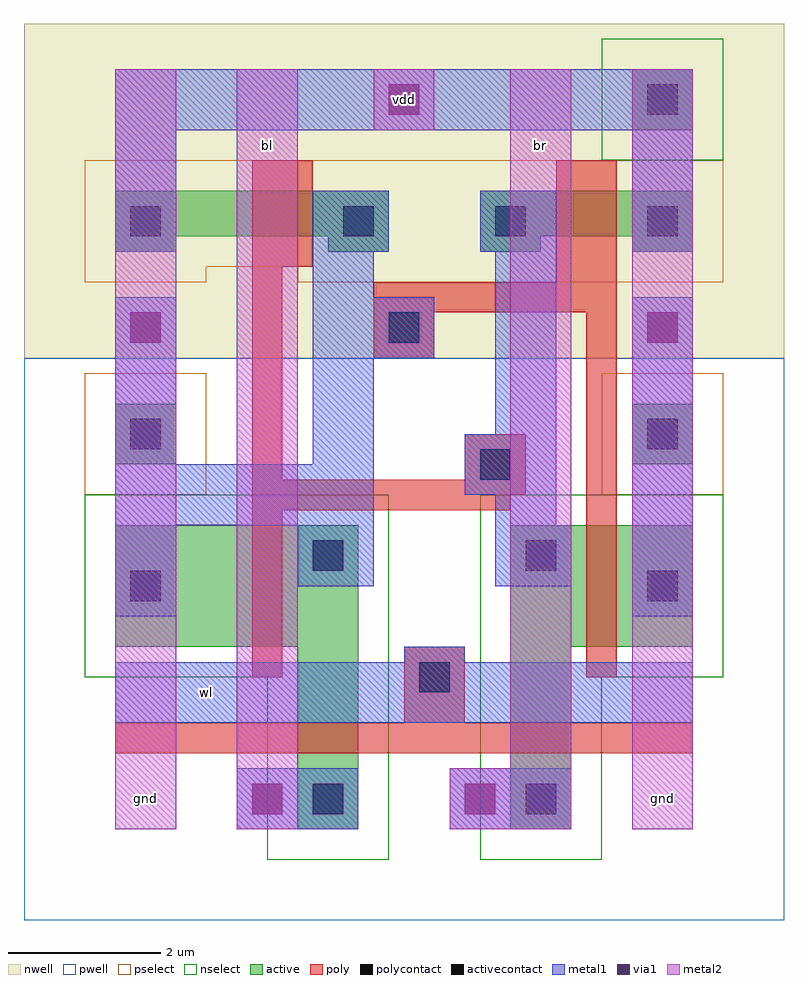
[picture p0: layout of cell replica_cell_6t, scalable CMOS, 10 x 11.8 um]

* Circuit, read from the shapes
.subckt replica_cell_6t bl br gnd vdd wl
M1 gnd n1 gnd gnd nfet w=1.6u l=0.4u
M2 gnd wl bl gnd nfet w=0.8u l=0.4u
M3 n1 wl br gnd nfet w=0.8u l=0.4u
M4 gnd gnd n1 gnd nfet w=1.6u l=0.4u
M5 gnd n1 vdd vdd pfet w=0.6u l=0.8u
M6 vdd gnd n1 vdd pfet w=0.6u l=0.8u
.ends

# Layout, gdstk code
import gdstk
lib = gdstk.Library(unit=1e-6, precision=1e-09)
def R(c, l, rs):  # rectangles x0, y0, x1, y1
    for r in rs: c.add(gdstk.rectangle(r[:2], r[2:], *l))
def A(c, l, x, y, w, h, nx, ny, dx, dy):  # array of equal rectangles
    R(c, l, [(x+i*dx, y+j*dy, x+i*dx+w, y+j*dy+h) for i in range(nx) for j in range(ny)])
pwell = (41, 0)
nwell = (42, 0)
active = (43, 0)
pselect = (44, 0)
nselect = (45, 0)
poly = (46, 0)
polycontact = (47, 0)
activecontact = (48, 0)
metal1 = (49, 0)
via1 = (50, 0)
metal2 = (51, 0)

replica_cell_6t = lib.new_cell('replica_cell_6t')
R(replica_cell_6t, pwell, [(-1.6,-1.6,8.4,5.8)])
R(replica_cell_6t, nwell, [(-1.6,5.8,8.4,10.2)])
A(replica_cell_6t, active, 2.4, 7.2, 0.8, 0.2, 3, 1, 2, 0)
R(replica_cell_6t, active, [(2,-0.4,2.8,2), (4.8,-0.4,5.6,2), (-0.4,2,2.8,3.6), (4.8,2,7.2,3.6), (-0.4,4.4,0.4,5.2), (6.4,4.4,7.2,5.2), (-0.4,7.2,0.4,7.4), (-0.4,7.4,3.2,8), (4.4,7.4,7.2,8), (6.4,8.8,7.2,9.6)])
R(replica_cell_6t, pselect, [(-0.8,4,0.8,5.6), (6,4,7.6,5.6), (-0.8,6.8,0.8,7), (2,6.8,7.6,7), (-0.8,7,7.6,8.4)])
R(replica_cell_6t, nselect, [(1.6,-0.8,3.2,1.6), (4.4,-0.8,6,1.6), (-0.8,1.6,3.2,4), (4.4,1.6,7.6,4), (6,8.4,7.6,10)])
R(replica_cell_6t, poly, [(-0.4,0.6,7.2,1), (3.4,1,4.2,2), (1.4,1.6,1.8,3.8), (5.8,1.6,6.2,6.4), (1.4,3.8,4.8,4), (1.4,4,5,4.2), (1.4,4.2,1.8,7), (4.2,4.2,5,4.8), (3,5.8,3.8,6.4), (3,6.4,6.2,6.8), (5.4,6.8,6.2,8.4), (1.4,7,2.2,8.4)])
R(replica_cell_6t, polycontact, [(3.6,1.4,4,1.8), (4.4,4.2,4.8,4.6), (3.2,6,3.6,6.4)])
A(replica_cell_6t, activecontact, 2.6, 7.4, 0.4, 0.4, 3, 1, 2, 0)
R(replica_cell_6t, activecontact, [(2.2,-0.2,2.6,0.2), (5,-0.2,5.4,0.2), (-0.2,2.6,0.2,3), (6.6,2.6,7,3), (2.2,3,2.6,3.4), (5,3,5.4,3.4), (-0.2,4.6,0.2,5), (6.6,4.6,7,5), (-0.2,7.4,0.2,7.8), (6.6,9,7,9.4)])
R(replica_cell_6t, metal1, [(1.2,-0.4,2.8,0.4), (4,-0.4,5.6,0.4), (-0.4,1,7.2,1.8), (3.4,1.8,4.2,2), (-0.4,2.4,0.4,3.6), (6.4,2.4,7.2,6.6), (2,2.8,3,3.6), (4.6,2.8,5.6,3.6), (-0.4,3.6,3,4.4), (4.6,3.6,5.4,4), (4.2,4,5.4,4.8), (-0.4,4.4,0.4,6.6), (2.2,4.4,3,5.8), (4.6,4.8,5.4,7.2), (2.2,5.8,3.8,6.6), (2.2,6.6,3,7.2), (-0.4,7.2,0.4,8.8), (2.2,7.2,3.2,8), (4.4,7.2,5.4,8), (6.4,7.2,7.2,8.8), (-0.4,8.8,7.2,9.6)])
R(replica_cell_6t, via1, [(1.4,-0.2,1.8,0.2), (4.2,-0.2,4.6,0.2), (-0.2,6,0.2,6.4), (6.6,6,7,6.4), (3.2,9,3.6,9.4)])
R(replica_cell_6t, metal2, [(-0.4,-0.4,0.4,9.6), (1.2,-0.4,2,9.6), (4,-0.4,5.6,0.4), (6.4,-0.4,7.2,9.6), (4.8,0.4,5.6,9.6), (3,8.8,3.8,9.6)])
replica_cell_6t.add(gdstk.Label('gnd', (0,0), layer=51, texttype=0))
replica_cell_6t.add(gdstk.Label('gnd', (6.8,0), layer=51, texttype=0))
replica_cell_6t.add(gdstk.Label('vdd', (3.4,9.2), layer=51, texttype=0))
replica_cell_6t.add(gdstk.Label('bl', (1.6,8.6), layer=51, texttype=0))
replica_cell_6t.add(gdstk.Label('br', (5.2,8.6), layer=51, texttype=0))
replica_cell_6t.add(gdstk.Label('wl', (0.8,1.4), layer=49, texttype=0))

lib.write_gds('replica_cell_6t.gds')
